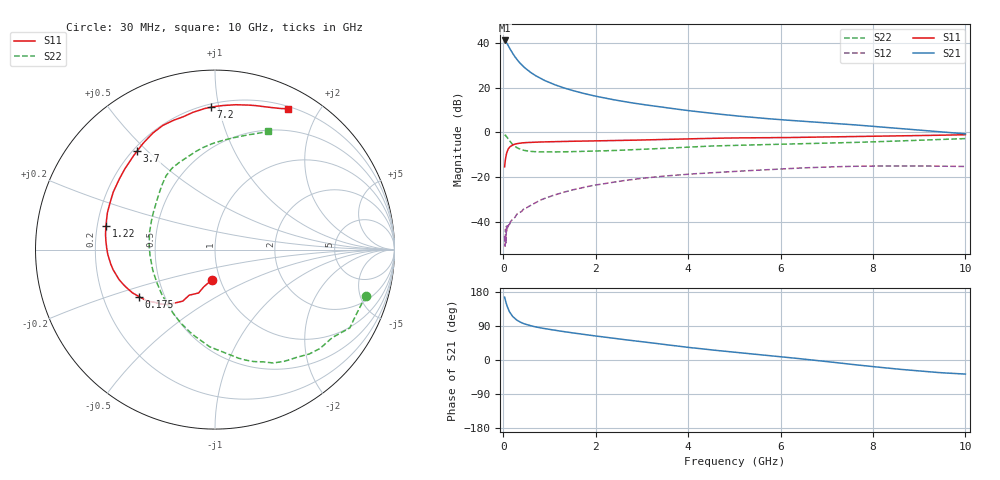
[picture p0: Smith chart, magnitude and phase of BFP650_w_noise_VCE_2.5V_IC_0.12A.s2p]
! Infineon Technologies  Discrete & RF Semiconductors
! BFP650
! VCE =  2.5 V,  IC = 0.12 A
! Common Emitter S-Parameters:  Jan 2016
# GHz  S  MA  R  50
!  f  S11  S21  S12  S22
! GHz  MAG  ANG  MAG  ANG  MAG  ANG  MAG  ANG
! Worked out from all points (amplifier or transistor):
!   229 points, 30 MHz to 10 GHz, reference 50 ohm
!   highest |S21| = 41.2 dB at 30 MHz (marker M1)
!   |S21| within 3 dB of that: start of sweep to 125.8 MHz
!   unconditionally stable (mu >= 1): 1.143 GHz to end of sweep
!   at 280 MHz: K = 0.70, MSG = 35.2 dB, |S12| = -37.2 dB
!   at 1.78 GHz: K = 1.03, MAG = 19.9 dB, |S12| = -24.5 dB
!   at 10 GHz: K = 1.03, MAG = 6.3 dB, |S12| = -15.3 dB
!   lowest NFmin = 1.60 dB at 450 MHz
!   S11 on the Smith chart (normalised r, x): 30 MHz: 0.92, -0.32; 175 MHz: 0.36, -0.25; 1.22 GHz: 0.24, +0.10; 3.7 GHz: 0.22, +0.47; 7.2 GHz: 0.22, +0.95; 10 GHz: 0.23, +1.63
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0.03  0.1682 -95.5  115.2 165.9  0.0047 79.5  0.8791 -17.0
0.04  0.2173 -106.9  113.8 160.8  0.0028 78.7  0.8665 -23.7
0.05  0.2582 -110.7  110 155.9  0.0067 77.3  0.8684 -30.2
0.06  0.2918 -119.5  107.8 151.8  0.0033 31.2  0.8169 -36.9
0.08  0.355 -124.5  99.79 143.6  0.0062 73.2  0.7838 -47.9
0.1  0.4089 -131.6  91.73 136.9  0.0081 74.4  0.7333 -58.0
0.13  0.4549 -140.3  80.06 128.6  0.0091 64.4  0.6602 -70.9
0.175  0.4977 -148.3  66.57 120.3  0.0104 63.8  0.5751 -85.0
0.2  0.519 -152.3  60.02 115.5  0.0111 63.0  0.5419 -93.2
0.26  0.5466 -159.2  48.55 108.4  0.0127 61.3  0.4804 -106.9
0.34  0.568 -165.5  38.06 101.9  0.0157 63.6  0.4311 -121.0
0.44  0.584 -171.1  29.76 96.2  0.0191 64.1  0.397 -134.2
0.7  0.6028 179.6  18.7 87.3  0.0263 64.9  0.3681 -155.8
1.22  0.6219 167.7  10.7 76.6  0.0426 61.9  0.3645 -178.7
1.7  0.6362 158.8  7.654 68.3  0.0571 58.2  0.374 168.3
3.4  0.6876 132.4  3.715 42.3  0.1024 39.0  0.4335 137.0
3.7  0.7 128.2  3.38 37.9  0.1089 35.6  0.4495 132.9
5.1  0.7512 111.8  2.314 19.4  0.1348 21.3  0.5147 116.7
6.8  0.7823 96.0  1.689 -1.4  0.1642 3.8  0.5658 98.4
7.2  0.793 91.6  1.58 -6.8  0.1693 -0.8  0.5792 94.6
8.4  0.8271 76.7  1.265 -22.4  0.1764 -14.1  0.6329 80.3
10  0.8844 62.5  0.929 -37.1  0.1718 -26.8  0.7243 65.8
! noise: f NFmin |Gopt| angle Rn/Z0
0.45  1.6  0.6  -171  0.06
0.9  1.62  0.61  -164  0.07
1.9  1.77  0.62  -149  0.11
2.4  1.88  0.61  -140  0.16
3.5  2.06  0.62  -118  0.29
